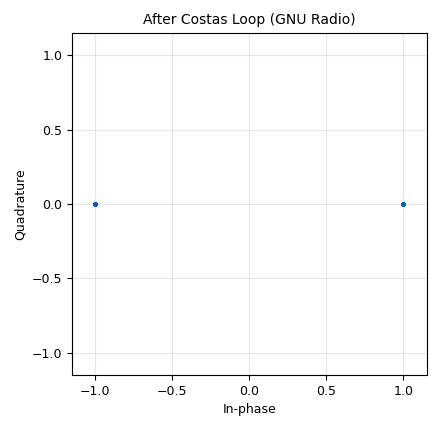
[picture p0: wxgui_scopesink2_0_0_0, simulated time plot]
<?xml version='1.0' encoding='utf-8'?>
<?grc format='1' created='3.7.8'?>
<flow_graph>
<block>
<key>options</key>
<param><key>id</key><value>top_block</value></param>
<param><key>category</key><value>Custom</value></param>
<param><key>generate_options</key><value>wx_gui</value></param>
</block>
<block>
<key>variable_slider</key>
<param><key>id</key><value>amplitude</value></param>
<param><key>converver</key><value>float_converter</value></param>
<param><key>value</key><value>1</value></param>
<param><key>label</key><value></value></param>
<param><key>max</key><value>2</value></param>
<param><key>min</key><value>0</value></param>
<param><key>num_steps</key><value>100</value></param>
<param><key>style</key><value>wx.SL_HORIZONTAL</value></param>
</block>
<block>
<key>variable_slider</key>
<param><key>id</key><value>freq_add</value></param>
<param><key>converver</key><value>float_converter</value></param>
<param><key>value</key><value>10</value></param>
<param><key>label</key><value></value></param>
<param><key>max</key><value>samp_rate*0.5</value></param>
<param><key>min</key><value>-samp_rate*0.5</value></param>
<param><key>num_steps</key><value>1000</value></param>
<param><key>style</key><value>wx.SL_HORIZONTAL</value></param>
</block>
<block>
<key>variable_slider</key>
<param><key>id</key><value>loop_bw</value></param>
<param><key>converver</key><value>float_converter</value></param>
<param><key>value</key><value>0.3</value></param>
<param><key>label</key><value></value></param>
<param><key>max</key><value>0.5</value></param>
<param><key>min</key><value>0</value></param>
<param><key>num_steps</key><value>100</value></param>
<param><key>style</key><value>wx.SL_HORIZONTAL</value></param>
</block>
<block>
<key>variable</key>
<param><key>id</key><value>samp_rate</value></param>
<param><key>value</key><value>2**12</value></param>
</block>
<block>
<key>analog_const_source_x</key>
<param><key>id</key><value>analog_const_source_x_0</value></param>
<param><key>const</key><value>0</value></param>
<param><key>_enabled</key><value>0</value></param>
<param><key>type</key><value>float</value></param>
</block>
<block>
<key>analog_random_source_x</key>
<param><key>id</key><value>analog_random_source_x_0</value></param>
<param><key>_enabled</key><value>0</value></param>
<param><key>max</key><value>2</value></param>
<param><key>min</key><value>0</value></param>
<param><key>num_samps</key><value>1000</value></param>
<param><key>type</key><value>int</value></param>
<param><key>repeat</key><value>True</value></param>
</block>
<block>
<key>blocks_add_const_vxx</key>
<param><key>id</key><value>blocks_add_const_vxx_0</value></param>
<param><key>const</key><value>-1</value></param>
<param><key>_enabled</key><value>0</value></param>
<param><key>type</key><value>float</value></param>
</block>
<block>
<key>blocks_float_to_complex</key>
<param><key>id</key><value>blocks_float_to_complex_0</value></param>
<param><key>_enabled</key><value>0</value></param>
</block>
<block>
<key>blocks_int_to_float</key>
<param><key>id</key><value>blocks_int_to_float_0</value></param>
<param><key>_enabled</key><value>0</value></param>
<param><key>scale</key><value>0.5</value></param>
</block>
<block>
<key>blocks_throttle</key>
<param><key>id</key><value>blocks_throttle_0</value></param>
<param><key>samples_per_second</key><value>samp_rate</value></param>
<param><key>type</key><value>complex</value></param>
</block>
<block>
<key>blocks_vector_source_x</key>
<param><key>id</key><value>blocks_vector_source_x_0</value></param>
<param><key>type</key><value>complex</value></param>
<param><key>repeat</key><value>True</value></param>
<param><key>vector</key><value>(1, 1, 1, -1, -1, -1, 1, 1, -1, -1, 1, -1)</value></param>
</block>
<block>
<key>digital_costas_loop_cc</key>
<param><key>id</key><value>digital_costas_loop_cc_0</value></param>
<param><key>w</key><value>loop_bw</value></param>
<param><key>order</key><value>2</value></param>
</block>
<block>
<key>freq_xlating_fir_filter_xxx</key>
<param><key>id</key><value>freq_xlating_fir_filter_xxx_0</value></param>
<param><key>center_freq</key><value>freq_add</value></param>
<param><key>decim</key><value>1</value></param>
<param><key>samp_rate</key><value>samp_rate</value></param>
<param><key>taps</key><value>[1]</value></param>
<param><key>type</key><value>ccc</value></param>
</block>
<block>
<key>ha5kfu_execproc_xx</key>
<param><key>id</key><value>ha5kfu_execproc_xx_0</value></param>
<param><key>commandline</key><value>tee /s/costas_input | CSDR_FIXED_BUFSIZE=1 csdr bpsk_costas_loop_cc 0.1 0.707 --dd --output_combined /s/costas_error /s/costas_dphase /s/costas_nco | tee /s/costas_output</value></param>
<param><key>type</key><value>cc</value></param>
</block>
<block>
<key>wxgui_scopesink2</key>
<param><key>id</key><value>wxgui_scopesink2_0_0</value></param>
<param><key>ac_couple</key><value>False</value></param>
<param><key>num_inputs</key><value>1</value></param>
<param><key>samp_rate</key><value>samp_rate</value></param>
<param><key>t_scale</key><value>0</value></param>
<param><key>title</key><value>After Costas Loop (csdr)</value></param>
<param><key>trig_mode</key><value>wxgui.TRIG_MODE_AUTO</value></param>
<param><key>type</key><value>complex</value></param>
<param><key>v_offset</key><value>0</value></param>
<param><key>v_scale</key><value>0</value></param>
<param><key>xy_mode</key><value>True</value></param>
<param><key>y_axis_label</key><value>Counts</value></param>
</block>
<block>
<key>wxgui_scopesink2</key>
<param><key>id</key><value>wxgui_scopesink2_0_0_0</value></param>
<param><key>ac_couple</key><value>False</value></param>
<param><key>num_inputs</key><value>1</value></param>
<param><key>samp_rate</key><value>samp_rate</value></param>
<param><key>t_scale</key><value>0</value></param>
<param><key>title</key><value>After Costas Loop (GNU Radio)</value></param>
<param><key>trig_mode</key><value>wxgui.TRIG_MODE_AUTO</value></param>
<param><key>type</key><value>complex</value></param>
<param><key>v_offset</key><value>0</value></param>
<param><key>v_scale</key><value>0</value></param>
<param><key>xy_mode</key><value>True</value></param>
<param><key>y_axis_label</key><value>Counts</value></param>
</block>
<connection><source_block_id>analog_const_source_x_0</source_block_id><sink_block_id>blocks_float_to_complex_0</sink_block_id><source_key>0</source_key><sink_key>1</sink_key></connection>
<connection><source_block_id>analog_random_source_x_0</source_block_id><sink_block_id>blocks_int_to_float_0</sink_block_id><source_key>0</source_key><sink_key>0</sink_key></connection>
<connection><source_block_id>blocks_add_const_vxx_0</source_block_id><sink_block_id>blocks_float_to_complex_0</sink_block_id><source_key>0</source_key><sink_key>0</sink_key></connection>
<connection><source_block_id>blocks_float_to_complex_0</source_block_id><sink_block_id>freq_xlating_fir_filter_xxx_0</sink_block_id><source_key>0</source_key><sink_key>0</sink_key></connection>
<connection><source_block_id>blocks_int_to_float_0</source_block_id><sink_block_id>blocks_add_const_vxx_0</sink_block_id><source_key>0</source_key><sink_key>0</sink_key></connection>
<connection><source_block_id>blocks_throttle_0</source_block_id><sink_block_id>digital_costas_loop_cc_0</sink_block_id><source_key>0</source_key><sink_key>0</sink_key></connection>
<connection><source_block_id>blocks_throttle_0</source_block_id><sink_block_id>ha5kfu_execproc_xx_0</sink_block_id><source_key>0</source_key><sink_key>0</sink_key></connection>
<connection><source_block_id>blocks_vector_source_x_0</source_block_id><sink_block_id>freq_xlating_fir_filter_xxx_0</sink_block_id><source_key>0</source_key><sink_key>0</sink_key></connection>
<connection><source_block_id>digital_costas_loop_cc_0</source_block_id><sink_block_id>wxgui_scopesink2_0_0_0</sink_block_id><source_key>0</source_key><sink_key>0</sink_key></connection>
<connection><source_block_id>freq_xlating_fir_filter_xxx_0</source_block_id><sink_block_id>blocks_throttle_0</sink_block_id><source_key>0</source_key><sink_key>0</sink_key></connection>
<connection><source_block_id>ha5kfu_execproc_xx_0</source_block_id><sink_block_id>wxgui_scopesink2_0_0</sink_block_id><source_key>0</source_key><sink_key>0</sink_key></connection>
</flow_graph>
